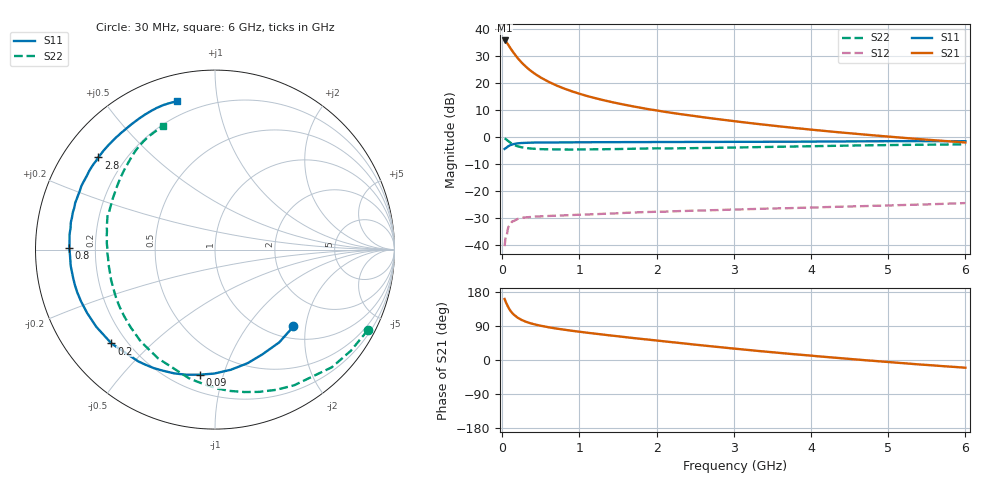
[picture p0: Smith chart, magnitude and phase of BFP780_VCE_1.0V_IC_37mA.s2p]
! Infineon Technologies  Discrete & RF Semiconductors
! BFP780
! VCE =  1.0 V,  IC =  37 mA
! Common Emitter S-Parameters:  Jul 2015
# GHz  S  MA  R  50
!  f  S11  S21  S12  S22
! GHz  MAG  ANG  MAG  ANG  MAG  ANG  MAG  ANG
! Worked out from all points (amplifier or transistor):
!   75 points, 30 MHz to 6 GHz, reference 50 ohm
!   highest |S21| = 35.9 dB at 30 MHz (marker M1)
!   |S21| within 3 dB of that: start of sweep to 108.6 MHz
!   unconditionally stable (mu >= 1): 2.121 GHz to end of sweep
!   at 150 MHz: K = 0.10, MSG = 31.1 dB, |S12| = -30.9 dB
!   at 2.3 GHz: K = 1.06, MAG = 16.5 dB, |S12| = -27.3 dB
!   at 6 GHz: K = 1.60, MAG = 6.7 dB, |S12| = -24.3 dB
!   S11 on the Smith chart (normalised r, x): 30 MHz: 1.25, -1.71; 90 MHz: 0.30, -0.84; 200 MHz: 0.14, -0.38; 800 MHz: 0.10, +0.01; 2.8 GHz: 0.11, +0.34; 6 GHz: 0.13, +0.77
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0.03  0.6119 -44.4  62.59 161.0  0.0097 74.8  0.9625 -27.8
0.05  0.6404 -65.6  58.77 150.8  0.0155 58.6  0.9239 -45.2
0.06  0.6585 -74.0  56.44 146.5  0.0157 62.0  0.8924 -52.2
0.08  0.6905 -90.3  51.34 138.3  0.0221 50.4  0.8521 -66.5
0.09  0.7023 -97.0  48.7 134.7  0.0231 48.3  0.8298 -72.8
0.11  0.7262 -108.3  44 128.6  0.0255 42.1  0.7914 -84.1
0.14  0.7492 -121.1  38.12 121.5  0.0281 36.8  0.742 -97.8
0.2  0.7787 -137.8  29.4 111.5  0.031 28.2  0.6842 -117.5
0.25  0.7889 -146.9  24.48 105.8  0.0324 23.6  0.6584 -128.9
0.3  0.7952 -153.6  20.79 101.4  0.0331 21.5  0.6386 -137.5
0.4  0.8036 -162.7  15.91 95.0  0.0338 17.9  0.6193 -149.5
0.5  0.8059 -168.9  12.84 90.3  0.0346 16.0  0.6078 -157.7
0.6  0.809 -173.5  10.74 86.4  0.0352 14.8  0.6033 -163.6
0.8  0.8119 179.4  8.068 80.1  0.0361 13.7  0.5989 -172.3
1.1  0.8135 171.6  5.849 72.0  0.0375 13.5  0.6005 178.8
1.5  0.8181 163.4  4.27 62.6  0.0394 13.2  0.6105 170.4
2.1  0.8241 153.0  2.997 49.2  0.0422 12.2  0.6254 160.6
2.8  0.8284 141.7  2.179 34.3  0.0452 11.0  0.6438 149.6
3.1  0.8307 137.2  1.929 28.2  0.0466 10.5  0.6546 145.2
4.1  0.8393 123.4  1.354 9.6  0.0508 8.1  0.6918 132.8
5.1  0.8536 112.4  1.011 -6.9  0.0556 5.3  0.7255 122.3
6  0.8534 104.5  0.808 -20.4  0.061 1.9  0.746 113.0
